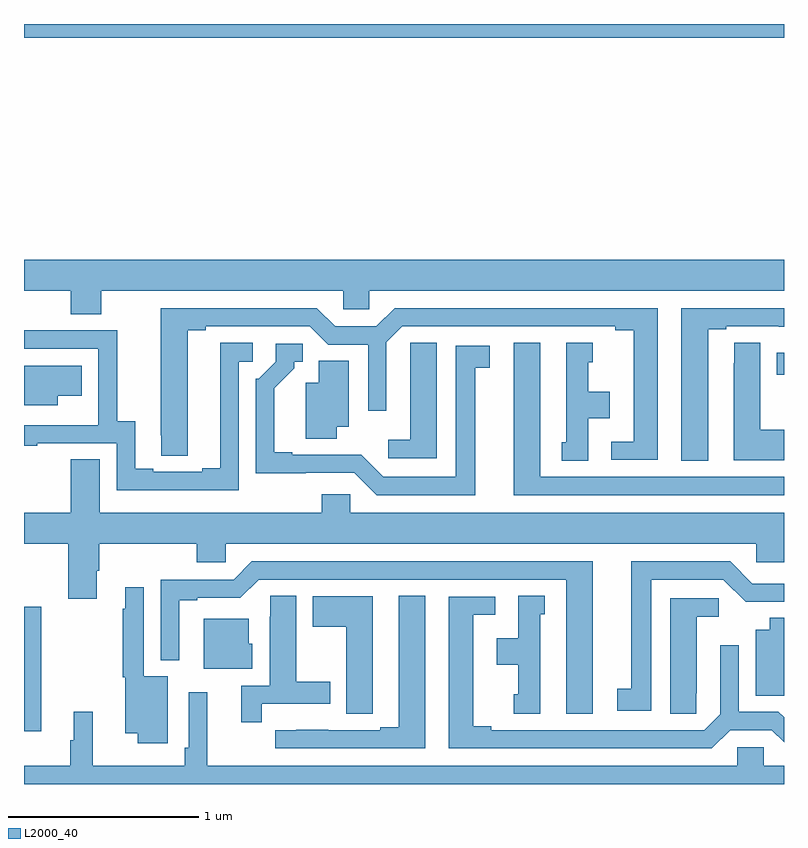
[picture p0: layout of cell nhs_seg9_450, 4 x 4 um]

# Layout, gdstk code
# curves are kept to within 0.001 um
import gdstk
lib = gdstk.Library(unit=1e-6, precision=1e-09)
def R(c, l, rs):  # rectangles x0, y0, x1, y1
    for r in rs: c.add(gdstk.rectangle(r[:2], r[2:], *l))
def P(c, l, *ps):  # polygons
    for p in ps: c.add(gdstk.Polygon(p, *l))
L2000_40 = (2000, 40)

nhs_seg9_450 = lib.new_cell('nhs_seg9_450')
R(nhs_seg9_450, L2000_40, [(136.961,1186.654,137,1186.77), (133,1188.428,137,1188.5)])
P(nhs_seg9_450, L2000_40, [(133.407,1187.096),(134.679,1187.096),(134.679,1186.998),(134.817,1186.998),(134.817,1187.096),(137,1187.096),(137,1187.26),(133,1187.26),(133,1187.096),(133.247,1187.096),(133.247,1186.972),(133.407,1186.972)],
  [(136.6,1186.893),(136.696,1186.893),(136.696,1186.908),(136.972,1186.908),(136.972,1186.907),(137,1186.907),(137,1187.004),(136.46,1187.004),(136.46,1186.201),(136.6,1186.201)],
  [(136.336,1187.004),(134.951,1187.004),(134.855,1186.908),(134.637,1186.908),(134.541,1187.004),(133.721,1187.004),(133.722,1186.228),(133.861,1186.228),(133.861,1186.888),(133.957,1186.888),(133.957,1186.908),(134.505,1186.908),(134.601,1186.812),(134.811,1186.812),(134.811,1186.464),(134.907,1186.464),(134.907,1186.824),(134.991,1186.908),(136.112,1186.908),(136.112,1186.888),(136.208,1186.888),(136.208,1186.302),(136.092,1186.302),(136.092,1186.206),(136.336,1186.206)],
  [(134.13,1186.722),(134.203,1186.722),(134.203,1186.823),(134.033,1186.823),(134.033,1186.163),(133.937,1186.163),(133.937,1186.143),(133.681,1186.143),(133.681,1186.158),(133.585,1186.158),(133.585,1186.409),(133.491,1186.409),(133.491,1186.887),(133,1186.887),(133,1186.791),(133.392,1186.791),(133.392,1186.39),(133.391,1186.39),(133.391,1186.389),(133,1186.389),(133,1186.281),(133.069,1186.281),(133.069,1186.293),(133.488,1186.293),(133.488,1186.047),(134.13,1186.047)],
  [(137,1186.365),(136.876,1186.365),(136.876,1186.823),(136.737,1186.823),(136.737,1186.715),(136.736,1186.715),(136.736,1186.205),(137,1186.205)],
  [(135.172,1186.823),(135.033,1186.823),(135.033,1186.715),(135.032,1186.715),(135.032,1186.312),(134.916,1186.312),(134.916,1186.215),(135.172,1186.215)],
  [(137,1186.116),(135.718,1186.116),(135.718,1186.822),(135.578,1186.822),(135.578,1186.02),(137,1186.02)],
  [(135.97,1186.424),(136.084,1186.424),(136.084,1186.564),(135.97,1186.564),(135.97,1186.719),(135.994,1186.719),(135.994,1186.822),(135.854,1186.822),(135.854,1186.299),(135.83,1186.299),(135.83,1186.201),(135.97,1186.201)],
  [(135.376,1186.69),(135.451,1186.69),(135.451,1186.806),(135.272,1186.806),(135.272,1186.116),(134.892,1186.116),(134.774,1186.234),(134.413,1186.233),(134.413,1186.246),(134.317,1186.246),(134.317,1186.582),(134.422,1186.687),(134.422,1186.722),(134.467,1186.722),(134.467,1186.818),(134.325,1186.818),(134.325,1186.722),(134.235,1186.632),(134.22,1186.632),(134.22,1186.136),(134.739,1186.137),(134.856,1186.02),(135.376,1186.02)],
  [(134.647,1186.379),(134.71,1186.379),(134.71,1186.727),(134.552,1186.727),(134.552,1186.612),(134.483,1186.612),(134.483,1186.318),(134.647,1186.318)],
  [(133.177,1186.544),(133.303,1186.544),(133.303,1186.702),(133,1186.702),(133,1186.493),(133.177,1186.493)],
  [(134.718,1186.026),(134.567,1186.026),(134.567,1185.928),(133.399,1185.928),(133.399,1186.208),(133.247,1186.208),(133.247,1185.928),(133,1185.928),(133,1185.764),(133.232,1185.764),(133.232,1185.474),(133.384,1185.474),(133.384,1185.622),(133.397,1185.622),(133.397,1185.764),(133.91,1185.764),(133.91,1185.666),(134.061,1185.666),(134.061,1185.764),(136.854,1185.764),(136.854,1185.666),(137,1185.666),(137,1185.928),(134.718,1185.928)],
  [(136.3,1185.576),(136.68,1185.576),(136.798,1185.458),(137,1185.459),(137,1185.555),(136.833,1185.555),(136.716,1185.672),(136.196,1185.672),(136.196,1185.002),(136.122,1185.002),(136.122,1184.886),(136.3,1184.886)],
  [(135.994,1185.672),(134.199,1185.672),(134.103,1185.576),(133.719,1185.576),(133.719,1185.152),(133.816,1185.152),(133.816,1185.468),(133.912,1185.468),(133.912,1185.48),(134.139,1185.48),(134.235,1185.576),(135.854,1185.576),(135.854,1184.871),(135.994,1184.871)],
  [(133.756,1185.067),(133.629,1185.067),(133.629,1185.535),(133.532,1185.535),(133.532,1185.422),(133.521,1185.422),(133.521,1185.063),(133.532,1185.063),(133.532,1184.768),(133.598,1184.768),(133.598,1184.715),(133.756,1184.715)],
  [(135.112,1185.491),(134.972,1185.491),(134.972,1184.799),(134.876,1184.799),(134.876,1184.784),(134.6,1184.784),(134.6,1184.785),(134.434,1184.785),(134.434,1184.784),(134.322,1184.784),(134.322,1184.688),(135.112,1184.688)],
  [(135.718,1185.393),(135.742,1185.393),(135.742,1185.491),(135.602,1185.491),(135.602,1185.268),(135.488,1185.268),(135.488,1185.128),(135.602,1185.128),(135.602,1184.973),(135.578,1184.973),(135.578,1184.871),(135.718,1184.871)],
  [(134.252,1184.922),(134.611,1184.922),(134.611,1185.039),(134.434,1185.039),(134.434,1185.491),(134.295,1185.491),(134.295,1185.38),(134.294,1185.38),(134.294,1185.018),(134.144,1185.018),(134.144,1184.826),(134.252,1184.826)],
  [(134.835,1184.977),(134.836,1184.977),(134.836,1185.487),(134.519,1185.487),(134.519,1185.328),(134.696,1185.328),(134.696,1184.869),(134.835,1184.869)],
  [(136.717,1184.784),(136.935,1184.784),(137,1184.719),(137,1184.851),(136.971,1184.88),(136.761,1184.88),(136.761,1185.229),(136.665,1185.229),(136.665,1184.868),(136.581,1184.784),(135.46,1184.784),(135.46,1184.804),(135.364,1184.804),(135.364,1185.39),(135.481,1185.39),(135.481,1185.486),(135.236,1185.486),(135.236,1184.688),(136.621,1184.688)],
  [(136.539,1184.977),(136.54,1184.977),(136.54,1185.38),(136.657,1185.38),(136.657,1185.477),(136.4,1185.477),(136.4,1184.869),(136.539,1184.869)],
  [(133.09,1185.126),(133.092,1185.126),(133.092,1185.433),(133,1185.433),(133,1184.778),(133.09,1184.778)],
  [(137,1185.374),(136.925,1185.374),(136.925,1185.313),(136.85,1185.313),(136.85,1184.965),(137,1184.965)],
  [(134.2,1185.237),(134.182,1185.237),(134.182,1185.37),(133.946,1185.37),(133.946,1185.107),(134.2,1185.107)],
  [(137,1184.596),(136.893,1184.596),(136.893,1184.694),(136.755,1184.694),(136.755,1184.596),(133.964,1184.596),(133.964,1184.983),(133.866,1184.983),(133.866,1184.692),(133.846,1184.692),(133.846,1184.596),(133.362,1184.596),(133.362,1184.881),(133.262,1184.881),(133.262,1184.73),(133.243,1184.73),(133.243,1184.596),(133,1184.596),(133,1184.5),(137,1184.5)])

lib.write_gds('nhs_seg9_450.gds')
